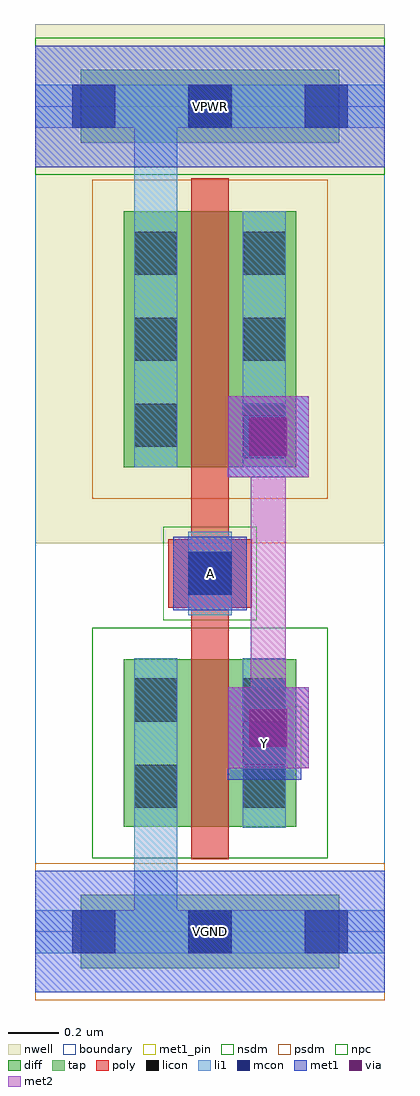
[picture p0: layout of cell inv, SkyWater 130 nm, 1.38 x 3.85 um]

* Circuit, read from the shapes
.subckt inv A VGND VPWR Y
XM1 Y A VGND VGND sky130_fd_pr__nfet_01v8 w=0.66 l=0.15
XM2 Y A VPWR VPWR sky130_fd_pr__pfet_01v8 w=1.01 l=0.15
.ends

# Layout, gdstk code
import gdstk
lib = gdstk.Library(unit=1e-6, precision=1e-09)
def R(c, l, rs):  # rectangles x0, y0, x1, y1
    for r in rs: c.add(gdstk.rectangle(r[:2], r[2:], *l))
def A(c, l, x, y, w, h, nx, ny, dx, dy):  # array of equal rectangles
    R(c, l, [(x+i*dx, y+j*dy, x+i*dx+w, y+j*dy+h) for i in range(nx) for j in range(ny)])
nwell = (64, 20)
diff = (65, 20)
tap = (65, 44)
poly = (66, 20)
licon = (66, 44)
li1 = (67, 20)
mcon = (67, 44)
met1_pin = (68, 16)
met1 = (68, 20)
via = (68, 44)
met2 = (69, 20)
nsdm = (93, 44)
psdm = (94, 20)
npc = (95, 20)
boundary = (235, 4)

inv = lib.new_cell('inv')
R(inv, nwell, [(0,1.535,1.38,3.585)])
R(inv, diff, [(0.35,0.415,1.03,1.075), (0.35,1.835,1.03,2.845)])
R(inv, tap, [(0.18,-0.145,1.2,0.145), (0.18,3.115,1.2,3.405)])
R(inv, poly, [(0.615,0.285,0.765,2.975), (0.525,1.28,0.855,1.55)])
A(inv, licon, 0.39, 1.915, 0.17, 0.17, 1, 3, 0, 0.34)
A(inv, licon, 0.82, 1.915, 0.17, 0.17, 1, 3, 0, 0.34)
R(inv, licon, [(0.605,-0.085,0.775,0.085), (0.39,0.49,0.56,0.66), (0.82,0.49,0.99,0.66), (0.39,0.83,0.56,1), (0.82,0.83,0.99,1), (0.605,1.33,0.775,1.5), (0.605,3.175,0.775,3.345)])
R(inv, li1, [(0,-0.085,1.38,0.085), (0.39,-0.085,0.56,1.08), (0.39,0.41,0.56,1.08), (0.82,0.41,0.99,1.08), (0.605,1.25,0.775,1.58), (0.39,1.835,0.56,2.845), (0.39,1.835,0.56,3.345), (0.82,1.835,0.99,2.845), (0,3.175,1.38,3.345)])
A(inv, mcon, 0.145, -0.085, 0.17, 0.17, 3, 2, 0.46, 3.26)
R(inv, mcon, [(0.82,0.66,0.99,0.83), (0.605,1.33,0.775,1.5), (0.82,1.87,0.99,2.04)])
R(inv, met1_pin, [(0,-0.24,1.38,0.24), (0.76,0.6,1.05,0.89), (0.545,1.27,0.835,1.56), (0,3.02,1.38,3.5)])
R(inv, met1, [(0,-0.24,1.38,0.24), (0.76,0.6,1.05,0.89), (0.76,0.645,1.08,0.965), (0.85,0.735,0.99,0.875), (0.545,1.27,0.835,1.56), (0.76,1.795,1.08,2.115), (0.76,1.81,1.05,2.1), (0.835,1.885,0.99,2.025), (0,3.02,1.38,3.5)])
R(inv, via, [(0.845,0.73,0.995,0.88), (0.845,1.88,0.995,2.03)])
R(inv, met2, [(0.76,0.645,1.08,0.965), (0.85,0.735,0.99,2.025), (0.76,1.795,1.08,2.115)])
R(inv, nsdm, [(0.225,0.29,1.155,1.2), (0,2.99,1.38,3.53)])
R(inv, psdm, [(0,-0.27,1.38,0.27), (0.225,1.71,1.155,2.97)])
R(inv, npc, [(0.505,1.23,0.875,1.6)])
R(inv, boundary, [(0,0,1.38,3.26)])
inv.add(gdstk.Label('A', (0.69,1.415), layer=68, texttype=5))
inv.add(gdstk.Label('Y', (0.905,0.745), layer=68, texttype=5))
inv.add(gdstk.Label('VPWR', (0.69,3.26), layer=68, texttype=5))
inv.add(gdstk.Label('VGND', (0.69,0), layer=68, texttype=5))
inv.add(gdstk.Label('A', (0.69,1.415), layer=68, texttype=16))
inv.add(gdstk.Label('Y', (0.905,0.745), layer=68, texttype=16))
inv.add(gdstk.Label('VPWR', (0.69,3.26), layer=68, texttype=16))
inv.add(gdstk.Label('VGND', (0.69,0), layer=68, texttype=16))

lib.write_gds('inv.gds')
